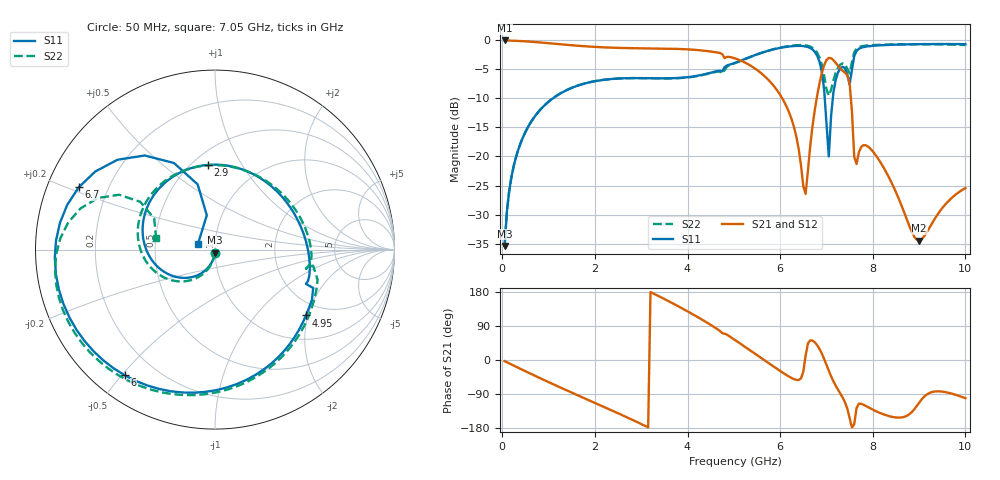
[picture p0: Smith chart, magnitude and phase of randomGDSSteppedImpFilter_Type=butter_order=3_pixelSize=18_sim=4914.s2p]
! freq	dB(S11)	phase(S11)	dB(S12)	phase(S12)
!  dB(S21)	phase(S21)	dB(S22)	phase(S22)
!S-par simulation data
#  GHz  S  DB  R 50
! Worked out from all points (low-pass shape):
!   200 points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, 50 MHz to 10 GHz, reference 50 ohm
!   highest |S21| = -0.01 dB at 50 MHz (marker M1); lowest = -34.5 dB at 9 GHz (marker M2)
!   |S21| within 3 dB of the highest: start of sweep to 4.797 GHz; 4.81 GHz to 4.991 GHz (181.5 MHz wide, 3.7 % of centre)
!   lowest |S11| = -35.4 dB at 50 MHz (marker M3), VSWR 1.03, Z = 49.9 - j1.69 ohm
!   |S11| at or under -10 dB: start of sweep to 1.089 GHz; 6.963 GHz to 7.137 GHz (173.7 MHz wide, 2.46 % of centre)
!   |S22| runs from -35.5 to -0.7 dB; largest |S21 - S12| = 0
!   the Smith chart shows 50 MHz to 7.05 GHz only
!   S11 on the Smith chart (normalised r, x): 50 MHz: 1.00, -0.03; 2.9 GHz: 0.59, +0.72; 4.95 GHz: 1.61, -1.94; 6 GHz: 0.09, -0.51; 6.7 GHz: 0.09, +0.22; 7.05 GHz: 0.82, +0.05
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0.05  -35.42 -93.0  -0.01 -3.0  -0.01 -3.0  -35.45 -92.4
0.2  -23.41 -103.1  -0.04 -12.0  -0.04 -12.0  -23.43 -101.5
0.5  -15.76 -122.1  -0.16 -29.7  -0.16 -29.7  -15.76 -118.2
1.75  -7.49 162.6  -0.99 -99.7  -0.99 -99.7  -7.48 176.8
2.9  -6.49 94.8  -1.35 -163.1  -1.35 -163.1  -6.49 118.0
3.4  -6.53 64.5  -1.40 167.2  -1.40 167.2  -6.55 89.2
4.25  -6.03 11.5  -1.68 111.1  -1.68 111.1  -6.09 30.0
4.95  -4.07 -35.9  -2.91 58.9  -2.91 58.9  -4.16 -26.9
5.05  -3.78 -43.8  -3.16 50.6  -3.16 50.6  -3.84 -36.2
5.6  -2.12 -89.4  -5.71 4.5  -5.71 4.5  -2.12 -85.0
6  -1.29 -125.7  -9.38 -28.9  -9.38 -28.9  -1.23 -119.3
6.55  -1.04 176.7  -26.44 11.6  -26.44 11.6  -0.86 -167.8
6.7  -1.57 155.4  -14.71 51.3  -14.71 51.3  -1.27 175.8
6.9  -5.45 115.4  -5.60 16.8  -5.60 16.8  -4.22 150.2
7.05  -20.00 163.0  -3.01 -28.4  -3.01 -28.4  -9.52 169.0
7.2  -6.78 -173.5  -3.86 -67.9  -3.86 -67.9  -5.56 -173.5
7.5  -7.60 157.5  -7.39 -152.8  -7.39 -152.8  -5.67 174.5
7.65  -1.79 153.9  -21.29 -126.5  -21.29 -126.5  -1.41 169.2
7.95  -0.97 118.0  -18.67 -127.9  -18.67 -127.9  -0.83 141.8
8.35  -0.77 86.2  -23.61 -148.0  -23.61 -148.0  -0.71 116.9
9  -0.64 44.2  -34.49 -112.8  -34.49 -112.8  -0.66 81.2
10  -0.65 -7.3  -25.43 -100.8  -25.43 -100.8  -0.80 29.7
